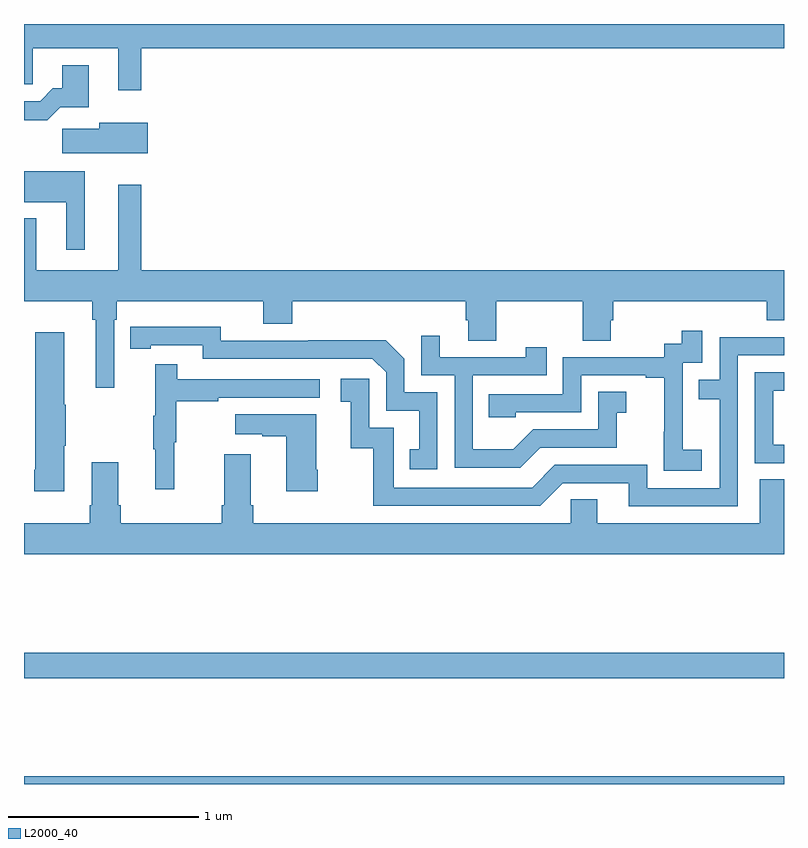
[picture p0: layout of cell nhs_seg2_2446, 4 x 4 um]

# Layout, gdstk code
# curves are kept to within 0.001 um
import gdstk
lib = gdstk.Library(unit=1e-6, precision=1e-09)
def R(c, l, rs):  # rectangles x0, y0, x1, y1
    for r in rs: c.add(gdstk.rectangle(r[:2], r[2:], *l))
def P(c, l, *ps):  # polygons
    for p in ps: c.add(gdstk.Polygon(p, *l))
L2000_40 = (2000, 40)

nhs_seg2_2446 = lib.new_cell('nhs_seg2_2446')
R(nhs_seg2_2446, L2000_40, [(239,607.8,243,607.84), (239,608.356,243,608.492)])
P(nhs_seg2_2446, L2000_40, [(239.617,611.672),(243,611.672),(243,611.8),(239,611.8),(239,611.482),(239.046,611.482),(239.046,611.672),(239.495,611.672),(239.495,611.451),(239.617,611.451)],
  [(239.192,611.363),(239.341,611.363),(239.341,611.584),(239.201,611.584),(239.201,611.461),(239.152,611.461),(239.085,611.394),(239,611.394),(239,611.294),(239.123,611.294)],
  [(239.65,611.281),(239.396,611.281),(239.396,611.249),(239.202,611.249),(239.202,611.12),(239.65,611.12)],
  [(239.32,611.026),(239,611.026),(239,610.862),(239.222,610.862),(239.222,610.611),(239.32,610.611)],
  [(239.475,610.244),(239.489,610.244),(239.489,610.34),(240.26,610.34),(240.26,610.223),(240.413,610.223),(240.413,610.34),(241.325,610.34),(241.325,610.242),(241.337,610.242),(241.337,610.132),(241.485,610.132),(241.485,610.34),(241.942,610.34),(241.942,610.132),(242.089,610.132),(242.089,610.242),(242.102,610.242),(242.102,610.34),(242.909,610.34),(242.909,610.241),(243,610.241),(243,610.504),(239.617,610.504),(239.617,610.954),(239.495,610.954),(239.495,610.504),(239.065,610.504),(239.065,610.777),(239,610.777),(239,610.34),(239.359,610.34),(239.359,610.244),(239.378,610.244),(239.378,609.885),(239.475,609.885)],
  [(241.176,609.861),(241.002,609.861),(241.002,610.038),(240.904,610.136),(240.496,610.136),(240.496,610.134),(240.036,610.134),(240.036,610.207),(239.56,610.206),(239.56,610.09),(239.668,610.09),(239.668,610.11),(239.94,610.11),(239.94,610.038),(240.834,610.038),(240.906,609.966),(240.906,609.765),(241.079,609.765),(241.079,609.561),(241.03,609.561),(241.03,609.456),(241.176,609.456)],
  [(242.566,609.559),(242.468,609.559),(242.468,609.788),(242.466,609.788),(242.466,610.017),(242.571,610.017),(242.571,610.186),(242.463,610.186),(242.463,610.116),(242.37,610.116),(242.37,610.047),(241.836,610.047),(241.836,609.852),(241.447,609.852),(241.447,609.729),(241.587,609.729),(241.587,609.756),(241.932,609.756),(241.932,609.951),(242.273,609.951),(242.273,609.939),(242.369,609.939),(242.369,609.655),(242.368,609.655),(242.368,609.449),(242.566,609.449)],
  [(239.212,609.58),(239.22,609.58),(239.22,609.797),(239.212,609.797),(239.212,610.177),(239.059,610.177),(239.059,609.454),(239.054,609.454),(239.054,609.342),(239.212,609.342)],
  [(241.717,609.57),(242.121,609.57),(242.121,609.755),(242.17,609.755),(242.17,609.865),(242.022,609.865),(242.022,609.666),(241.68,609.666),(241.576,609.562),(241.362,609.562),(241.362,609.951),(241.751,609.951),(241.751,610.099),(241.64,610.099),(241.64,610.047),(241.189,610.047),(241.189,610.159),(241.092,610.159),(241.092,609.951),(241.266,609.951),(241.266,609.465),(241.612,609.465)],
  [(242.757,610.056),(243,610.056),(243,610.152),(242.661,610.152),(242.661,609.927),(242.551,609.927),(242.551,609.826),(242.661,609.826),(242.661,609.357),(242.28,609.357),(242.28,609.48),(241.794,609.48),(241.674,609.36),(240.945,609.36),(240.945,609.675),(240.816,609.675),(240.816,609.934),(240.666,609.934),(240.666,609.813),(240.719,609.813),(240.719,609.567),(240.837,609.567),(240.837,609.264),(241.716,609.264),(241.836,609.384),(242.183,609.384),(242.183,609.261),(242.757,609.261)],
  [(239.792,609.6),(239.8,609.6),(239.8,609.814),(240.023,609.814),(240.023,609.834),(240.556,609.834),(240.556,609.93),(239.807,609.93),(239.807,610.009),(239.69,610.009),(239.69,609.737),(239.679,609.737),(239.679,609.563),(239.69,609.563),(239.69,609.351),(239.792,609.351)],
  [(243,609.585),(242.943,609.585),(242.943,609.87),(243,609.87),(243,609.966),(242.847,609.966),(242.847,609.489),(243,609.489)],
  [(240.546,609.454),(240.538,609.454),(240.538,609.745),(240.111,609.745),(240.111,609.641),(240.254,609.641),(240.254,609.631),(240.38,609.631),(240.38,609.342),(240.546,609.342)],
  [(243,609.404),(242.873,609.404),(242.873,609.172),(242.017,609.172),(242.017,609.299),(241.878,609.299),(241.878,609.172),(240.206,609.172),(240.206,609.268),(240.193,609.268),(240.193,609.535),(240.053,609.535),(240.053,609.268),(240.041,609.268),(240.041,609.172),(239.51,609.172),(239.51,609.268),(239.497,609.268),(239.497,609.493),(239.357,609.493),(239.357,609.268),(239.345,609.268),(239.345,609.172),(239,609.172),(239,609.008),(243,609.008)])

lib.write_gds('nhs_seg2_2446.gds')
